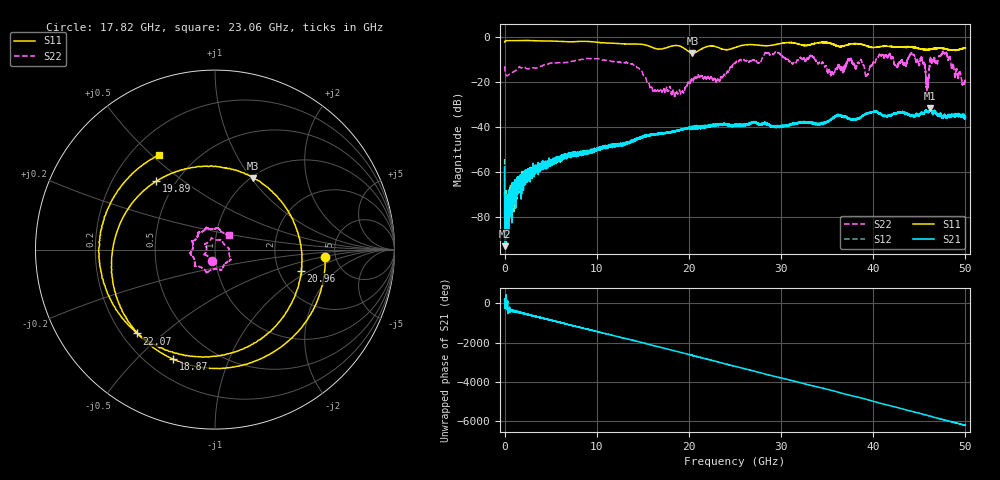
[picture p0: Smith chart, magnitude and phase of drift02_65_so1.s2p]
!Created with skrf (http://scikit-rf.org).
# Hz S RI R 50.0
!freq ReS11 ImS11 ReS21 ImS21 ReS12 ImS12 ReS22 ImS22
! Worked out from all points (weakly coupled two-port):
!   10001 points, 300 kHz to 50 GHz, reference 50 ohm
!   highest |S21| = -31.52 dB at 46.17 GHz (marker M1); lowest = -92.8 dB at 15.3 MHz (marker M2)
!   lowest |S11| = -6.9 dB at 20.38 GHz (marker M3), VSWR 2.65, Z = 51.2 + j51.3 ohm
!   |S11| at or under -10 dB: nowhere
!   |S22| runs from -26.6 to -6.2 dB; largest |S21 - S12| = 0.0029
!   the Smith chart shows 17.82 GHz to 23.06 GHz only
!   S11 on the Smith chart (normalised r, x): 17.82 GHz: 4.14, -0.52; 18.87 GHz: 0.30, -0.65; 19.89 GHz: 0.39, +0.40; 20.96 GHz: 2.65, -0.84; 22.07 GHz: 0.26, -0.41; 23.06 GHz: 0.31, +0.53
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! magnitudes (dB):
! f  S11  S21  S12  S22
! 300 kHz  -2.0  -57.5  -54.1  -12.8
! 15.3 MHz  -2.0  -92.8  -77.0  -13.6
! 255.3 MHz  -1.4  -70.6  -72.8  -17.0
! 2.385 GHz  -1.3  -60.8  -61.1  -13.9
! 8.335 GHz  -1.7  -52.6  -51.0  -9.7
! 13.71 GHz  -3.0  -46.6  -46.4  -11.7
! 16.67 GHz  -5.2  -42.9  -42.9  -23.7
! 17.82 GHz  -4.2  -42.0  -42.5  -23.4
! 18.87 GHz  -3.7  -41.4  -41.5  -24.3
! 19.89 GHz  -6.0  -40.4  -40.4  -20.1
! 20.38 GHz  -6.9  -39.9  -40.1  -18.9
! 20.96 GHz  -6.1  -40.4  -39.8  -16.9
! 22.07 GHz  -3.9  -39.2  -39.6  -17.3
! 23.06 GHz  -4.3  -38.8  -38.4  -19.0
! 25 GHz  -4.5  -38.9  -39.3  -11.5
! 33.34 GHz  -3.0  -38.0  -37.8  -8.4
! 39.32 GHz  -3.8  -33.9  -33.8  -16.9
! 41.67 GHz  -4.0  -34.7  -34.7  -7.9
! 45.85 GHz  -5.5  -33.1  -32.9  -23.5
! 46.17 GHz  -5.3  -31.5  -31.8  -9.8
! 47.74 GHz  -5.0  -34.5  -34.6  -7.0
! 50 GHz  -4.7  -35.4  -35.8  -18.5
